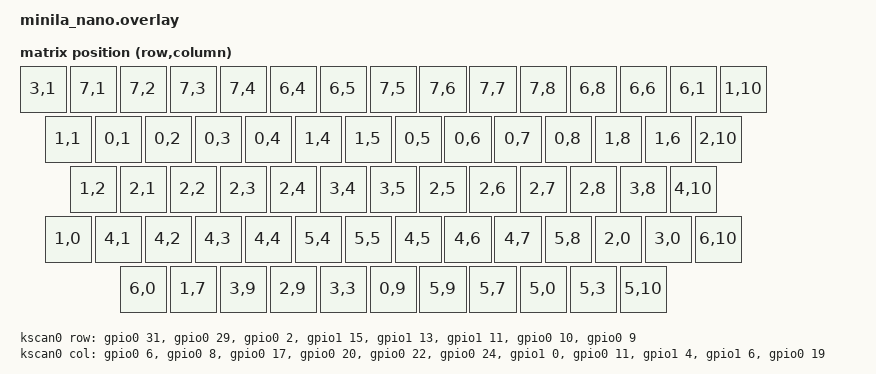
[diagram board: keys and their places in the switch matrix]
   /*
 * Copyright (c) 2020 The ZMK Contributors
 *
 * SPDX-License-Identifier: MIT
 */

#include <dt-bindings/zmk/matrix_transform.h>

/ {
    chosen {
        zmk,kscan = &kscan0;
        zmk,matrix-transform = &default_transform;
    };

    leds {
            compatible = "gpio-leds";
            led_0: led_red {
                gpios = <&gpio0 21 GPIO_ACTIVE_LOW>;
                label = "Red LED";
                status = "okay";
            };
            led_1: led_blue {
                gpios = <&gpio0 23 GPIO_ACTIVE_LOW>;
                label = "Blue LED";
                status = "okay";
            };
        };

    // These aliases are provided for compatibility with samples
    aliases {
        ledred   = &led_0;
        ledblue  = &led_1;
    };

    default_transform: keymap_transform_0 {
        compatible = "zmk,matrix-transform";
        columns = <11>;
        rows = <8>;

        // | MX1  | MX2  | MX3  | MX4  | MX5  | MX6  | MX7  | MX8  | MX9  | MX10 | MX11 | MX12 | MX13 | MX14 | M15 |
        // |   MX16   | MX17 | MX18 | MX19 | MX20 | MX21 | MX22 | MX23 | MX24 | MX25 | MX26 | MX27 | MX28 |  MX29  |
        // |    MX30    | MX31 | MX32 | MX33 | MX34 | MX35 | MX36 | MX37 | MX38 | MX39 | MX40 | MX41 |     MX42    |
        // |     MX43    | MX44 | MX45 | MX46 | MX47 | MX48 | MX49 | MX50 | MX51 | MX52 | MX53 | MX54 | MX55 | MX56 |
        // |  MX57  |  MX58  |  MX59  |  MX60  |         MX61         |  MX62  |  MX63  | MX64 | MX65 | MX66 | MX67 |
        map = <
        RC(3,1) RC(7,1) RC(7,2) RC(7,3) RC(7,4) RC(6,4) RC(6,5) RC(7,5) RC(7,6) RC(7,7) RC(7,8) RC(6,8) RC(6,6) RC(6,1) RC(1,10)
        RC(1,1)    RC(0,1) RC(0,2) RC(0,3) RC(0,4) RC(1,4) RC(1,5) RC(0,5) RC(0,6) RC(0,7) RC(0,8) RC(1,8) RC(1,6)     RC(2,10)
        RC(1,2)      RC(2,1) RC(2,2) RC(2,3) RC(2,4) RC(3,4) RC(3,5) RC(2,5) RC(2,6) RC(2,7) RC(2,8) RC(3,8)          RC(4,10)
        RC(1,0)       RC(4,1) RC(4,2) RC(4,3) RC(4,4) RC(5,4) RC(5,5) RC(4,5) RC(4,6) RC(4,7) RC(5,8) RC(2,0) RC(3,0) RC(6,10)
        RC(6,0)    RC(1,7)  RC(3,9)  RC(2,9)           RC(3,3)           RC(0,9)  RC(5,9)     RC(5,7) RC(5,0) RC(5,3) RC(5,10)
        >;
    };

    kscan0: kscan_0 {
        compatible = "zmk,kscan-gpio-matrix";
        wakeup-source;
        diode-direction = "row2col";

        col-gpios
            = <&gpio0 6  (GPIO_ACTIVE_HIGH | GPIO_PULL_DOWN)> // col 0
            , <&gpio0 8  (GPIO_ACTIVE_HIGH | GPIO_PULL_DOWN)> // col 1
            , <&gpio0 17 (GPIO_ACTIVE_HIGH | GPIO_PULL_DOWN)> // col 2
            , <&gpio0 20 (GPIO_ACTIVE_HIGH | GPIO_PULL_DOWN)> // col 3
            , <&gpio0 22 (GPIO_ACTIVE_HIGH | GPIO_PULL_DOWN)> // col 4
            , <&gpio0 24 (GPIO_ACTIVE_HIGH | GPIO_PULL_DOWN)> // col 5
            , <&gpio1 0  (GPIO_ACTIVE_HIGH | GPIO_PULL_DOWN)> // col 6
            , <&gpio0 11 (GPIO_ACTIVE_HIGH | GPIO_PULL_DOWN)> // col 7
            , <&gpio1 4  (GPIO_ACTIVE_HIGH | GPIO_PULL_DOWN)> // col 8
            , <&gpio1 6  (GPIO_ACTIVE_HIGH | GPIO_PULL_DOWN)> // col 9
            , <&gpio0 19 (GPIO_ACTIVE_HIGH | GPIO_PULL_DOWN)> // col 10
            ;

        row-gpios
            = <&gpio0 31 GPIO_ACTIVE_HIGH> // row 0
            , <&gpio0 29 GPIO_ACTIVE_HIGH> // row 1
            , <&gpio0 2  GPIO_ACTIVE_HIGH> // row 2
            , <&gpio1 15 GPIO_ACTIVE_HIGH> // row 3
            , <&gpio1 13 GPIO_ACTIVE_HIGH> // row 4
            , <&gpio1 11 GPIO_ACTIVE_HIGH> // row 5
            , <&gpio0 10 GPIO_ACTIVE_HIGH> // row 6
            , <&gpio0 9  GPIO_ACTIVE_HIGH> // row 7
            ;
    };
};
